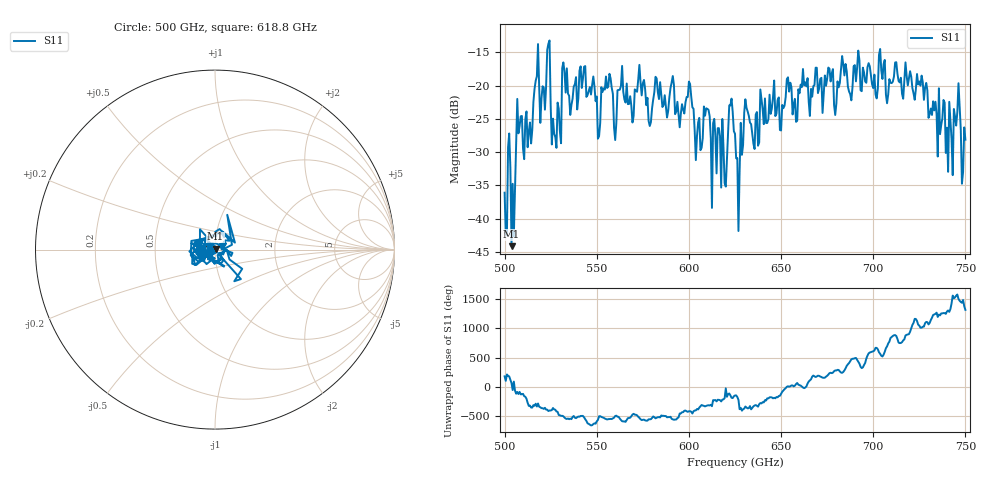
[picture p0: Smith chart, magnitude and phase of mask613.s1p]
!Created with skrf (http://scikit-rf.org).
# GHz S MA R 50.0
!freq magS11 angS11
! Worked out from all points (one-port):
!   401 points, 500 GHz to 750 GHz, reference 50 ohm
!   lowest |S11| = -44.1 dB at 503.8 GHz (marker M1), VSWR 1.01, Z = 50.3 + j0.552 ohm
!   |S11| at or under -10 dB: start of sweep to end of sweep
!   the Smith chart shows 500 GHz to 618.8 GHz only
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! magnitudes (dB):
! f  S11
! 500 GHz  -36.1
! 503.8 GHz  -44.1
! 505 GHz  -42.7
! 508.1 GHz  -26.1
! 513.8 GHz  -25.5
! 517.5 GHz  -18.6
! 520.6 GHz  -20.1
! 523.8 GHz  -13.7
! 526.9 GHz  -27.2
! 531.2 GHz  -17.4
! 542.5 GHz  -18.9
! 550.6 GHz  -28.0
! 562.5 GHz  -20.6
! 593.8 GHz  -22.4
! 605 GHz  -25.5
! 609.4 GHz  -23.4
! 618.8 GHz  -29.3
! 622.5 GHz  -23.0
! 625 GHz  -27.2
! 626.2 GHz  -30.9
! 631.2 GHz  -23.3
! 634.4 GHz  -27.2
! 656.2 GHz  -24.3
! 680 GHz  -22.7
! 683.8 GHz  -16.8
! 687.5 GHz  -21.3
! 718.8 GHz  -20.0
! 750 GHz  -28.1
